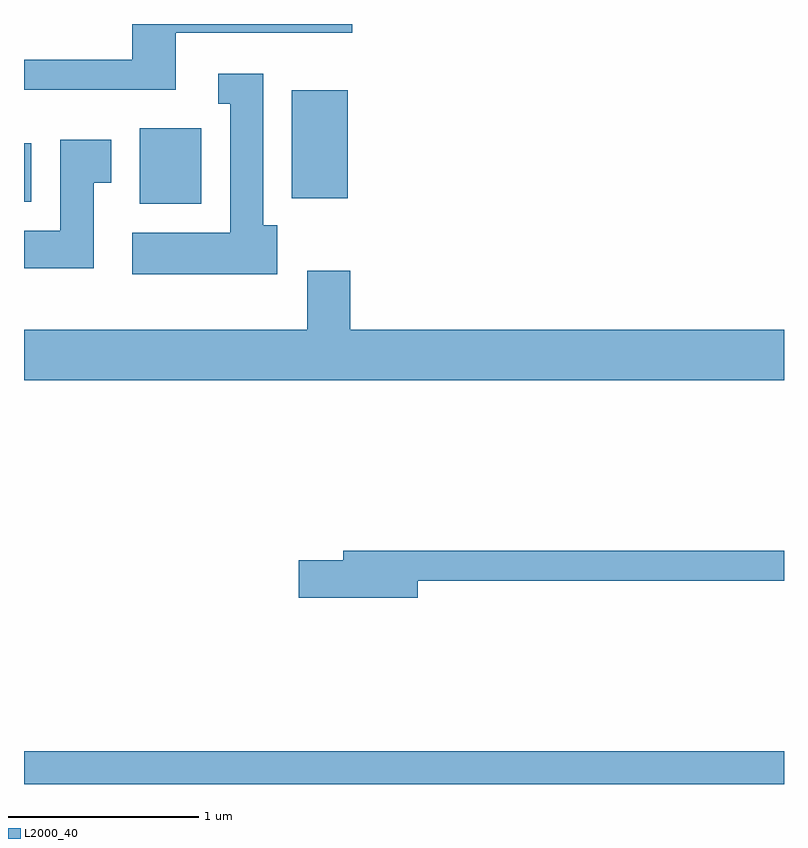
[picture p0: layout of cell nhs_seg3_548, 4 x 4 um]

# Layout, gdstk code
import gdstk
lib = gdstk.Library(unit=1e-6, precision=1e-09)
def R(c, l, rs):  # rectangles x0, y0, x1, y1
    for r in rs: c.add(gdstk.rectangle(r[:2], r[2:], *l))
def P(c, l, *ps):  # polygons
    for p in ps: c.add(gdstk.Polygon(p, *l))
L2000_40 = (2000, 40)

nhs_seg3_548 = lib.new_cell('nhs_seg3_548')
R(nhs_seg3_548, L2000_40, [(201.611,1123.892,205.611,1124.064), (202.221,1126.946,202.544,1127.344), (201.611,1126.956,201.649,1127.264), (203.021,1126.976,203.314,1127.544)])
P(nhs_seg3_548, L2000_40, [(202.409,1127.846),(203.338,1127.846),(203.338,1127.892),(202.181,1127.892),(202.181,1127.704),(201.611,1127.704),(201.611,1127.546),(202.409,1127.546)],
  [(202.944,1126.834),(202.869,1126.834),(202.869,1127.629),(202.633,1127.629),(202.633,1127.471),(202.696,1127.471),(202.696,1126.794),(202.181,1126.794),(202.181,1126.576),(202.944,1126.576)],
  [(201.979,1127.056),(202.069,1127.056),(202.069,1127.284),(201.801,1127.284),(201.801,1126.804),(201.611,1126.804),(201.611,1126.606),(201.979,1126.606)],
  [(205.611,1126.284),(203.329,1126.284),(203.329,1126.594),(203.101,1126.594),(203.101,1126.284),(201.611,1126.284),(201.611,1126.016),(205.611,1126.016)],
  [(203.684,1124.961),(205.611,1124.961),(205.611,1125.119),(203.291,1125.119),(203.291,1125.069),(203.056,1125.069),(203.056,1124.871),(203.684,1124.871)])

lib.write_gds('nhs_seg3_548.gds')
